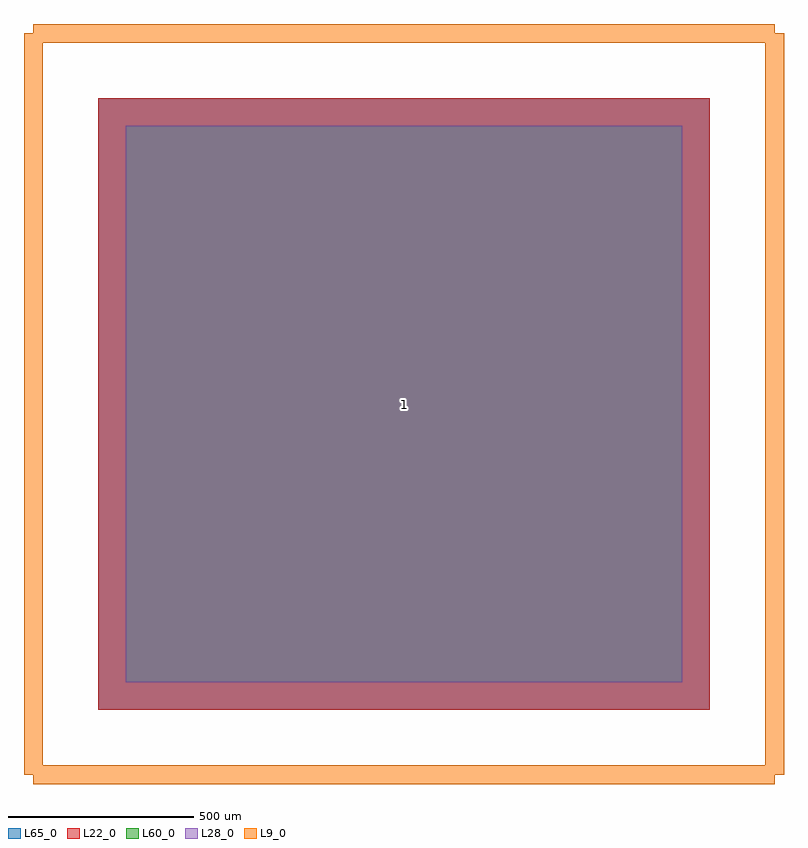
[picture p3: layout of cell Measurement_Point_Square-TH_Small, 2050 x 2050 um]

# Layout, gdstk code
import gdstk
lib = gdstk.Library(unit=1e-6, precision=1e-09)
def R(c, l, rs):  # rectangles x0, y0, x1, y1
    for r in rs: c.add(gdstk.rectangle(r[:2], r[2:], *l))
L9_0 = (9, 0)
L22_0 = (22, 0)
L28_0 = (28, 0)
L60_0 = (60, 0)
L65_0 = (65, 0)

measurement_point_square = lib.new_cell('Measurement_Point_Square-TH_Small')
R(measurement_point_square, L22_0, [(-825,-825,825,825)])
R(measurement_point_square, L28_0, [(-750,-750,750,750)])
R(measurement_point_square, L60_0, [(-750,-750,750,750)])
R(measurement_point_square, L65_0, [(-825,-825,825,825)])
measurement_point_square.add(gdstk.FlexPath([(-1000,-1000),(-1000,1000)], 50, ends="flush", simple_path=True, layer=9, datatype=0))  # L9_0
measurement_point_square.add(gdstk.FlexPath([(1000,-1000),(-1000,-1000)], 50, ends="flush", simple_path=True, layer=9, datatype=0))  # L9_0
measurement_point_square.add(gdstk.FlexPath([(1000,1000),(1000,-1000)], 50, ends="flush", simple_path=True, layer=9, datatype=0))  # L9_0
measurement_point_square.add(gdstk.FlexPath([(-1000,1000),(1000,1000)], 50, ends="flush", simple_path=True, layer=9, datatype=0))  # L9_0
measurement_point_square.add(gdstk.Label('1', (0,0), layer=28, texttype=0))
measurement_point_square.add(gdstk.Label('type', (0,-2000), layer=9, texttype=0))
measurement_point_square.add(gdstk.Label('devicename', (0,2000), layer=9, texttype=0))

lib.write_gds('Measurement_Point_Square-TH_Small.gds')
